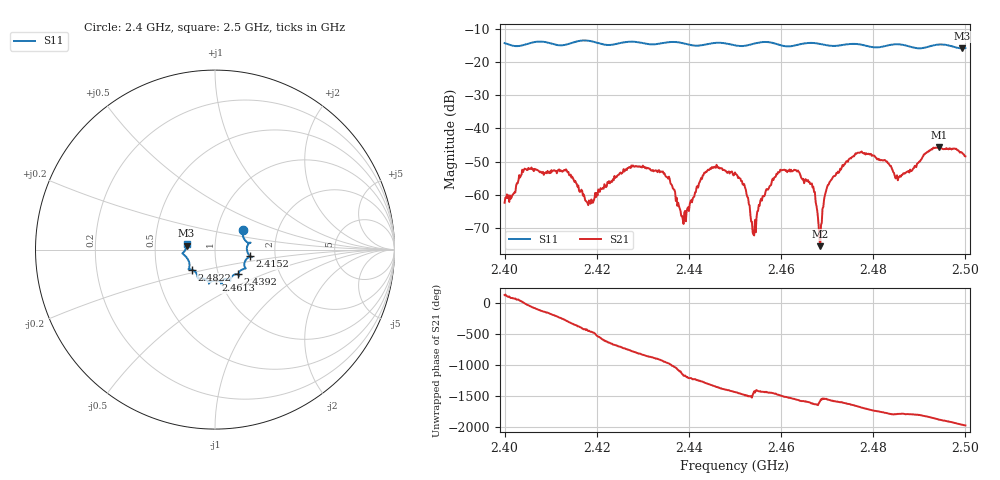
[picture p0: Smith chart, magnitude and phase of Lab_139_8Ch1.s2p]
# Hz S RI R 50
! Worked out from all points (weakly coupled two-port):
!   601 points, 2.4 GHz to 2.5 GHz, reference 50 ohm
!   highest |S21| = -45.68 dB at 2.4943 GHz (marker M1); lowest = -75.4 dB at 2.4685 GHz (marker M2)
!   lowest |S11| = -15.9 dB at 2.4993 GHz (marker M3), VSWR 1.38, Z = 36.3 + j1.63 ohm
!   |S11| at or under -10 dB: start of sweep to end of sweep
!   S12 and S22 are empty: the file has one direction only
!   S11 on the Smith chart (normalised r, x): 2.4 GHz: 1.33, +0.31; 2.4152 GHz: 1.48, -0.11; 2.4392 GHz: 1.24, -0.35; 2.4613 GHz: 0.96, -0.34; 2.4822 GHz: 0.76, -0.17; 2.5 GHz: 0.73, +0.05
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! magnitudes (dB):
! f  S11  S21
! 2.4 GHz  -14.4  -62.4
! 2.4047 GHz  -14.7  -52.3
! 2.4152 GHz  -14.1  -56.1
! 2.4167 GHz  -13.6  -58.5
! 2.4333 GHz  -14.6  -52.7
! 2.4392 GHz  -14.5  -64.8
! 2.4438 GHz  -14.7  -53.1
! 2.45 GHz  -15.0  -53.3
! 2.4523 GHz  -15.1  -58.3
! 2.454 GHz  -14.6  -72.0
! 2.4565 GHz  -14.0  -60.0
! 2.4613 GHz  -15.3  -53.2
! 2.4667 GHz  -14.3  -56.6
! 2.4685 GHz  -14.6  -75.4
! 2.4702 GHz  -15.1  -57.0
! 2.4738 GHz  -14.8  -50.8
! 2.4822 GHz  -15.4  -49.6
! 2.4833 GHz  -15.0  -50.6
! 2.4858 GHz  -14.8  -54.2
! 2.4943 GHz  -14.8  -45.7
! 2.4993 GHz  -15.9  -47.5
! 2.5 GHz  -15.9  -48.4
